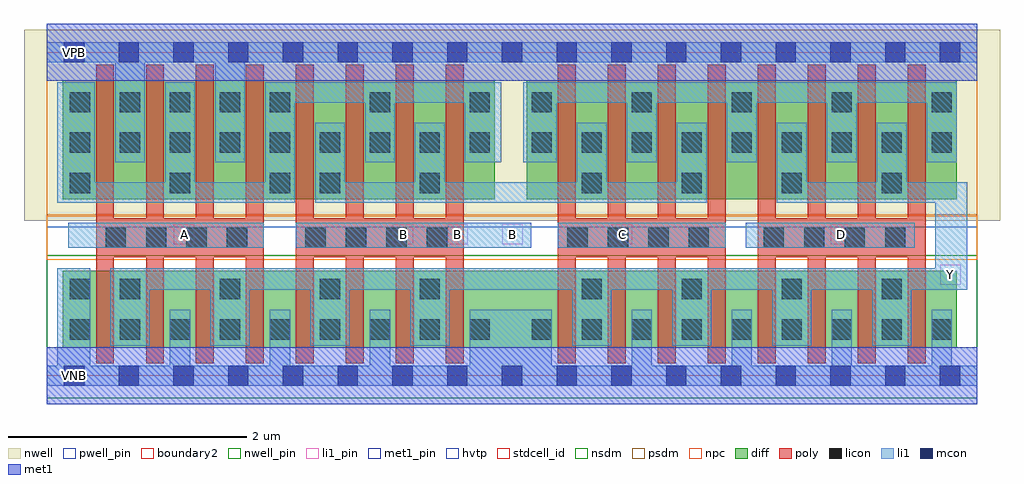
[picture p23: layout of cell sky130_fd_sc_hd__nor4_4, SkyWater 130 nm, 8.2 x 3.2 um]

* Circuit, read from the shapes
.subckt sky130_fd_sc_hd__nor4_4 A B C D VGND VNB VPB VPWR Y
XM1 Y A VGND VNB sky130_fd_pr__nfet_01v8 w=0.65 l=0.15 m=4
XM2 Y B VGND VNB sky130_fd_pr__nfet_01v8 w=0.65 l=0.15 m=4
XM3 Y C VGND VNB sky130_fd_pr__nfet_01v8 w=0.65 l=0.15 m=4
XM4 Y D VGND VNB sky130_fd_pr__nfet_01v8 w=0.65 l=0.15 m=4
XM5 VPWR A n1 VPB sky130_fd_pr__pfet_01v8_hvt w=1 l=0.15 m=4
XM6 n2 B n1 VPB sky130_fd_pr__pfet_01v8_hvt w=1 l=0.15 m=4
XM7 n2 C n3 VPB sky130_fd_pr__pfet_01v8_hvt w=1 l=0.15 m=4
XM8 Y D n3 VPB sky130_fd_pr__pfet_01v8_hvt w=1 l=0.15 m=4
.ends

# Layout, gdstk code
import gdstk
lib = gdstk.Library(unit=1e-6, precision=1e-09)
def R(c, l, rs):  # rectangles x0, y0, x1, y1
    for r in rs: c.add(gdstk.rectangle(r[:2], r[2:], *l))
def A(c, l, x, y, w, h, nx, ny, dx, dy):  # array of equal rectangles
    R(c, l, [(x+i*dx, y+j*dy, x+i*dx+w, y+j*dy+h) for i in range(nx) for j in range(ny)])
def P(c, l, *ps):  # polygons
    for p in ps: c.add(gdstk.Polygon(p, *l))
nwell_pin = (64, 16)
nwell = (64, 20)
diff = (65, 20)
poly = (66, 20)
licon = (66, 44)
li1_pin = (67, 16)
li1 = (67, 20)
mcon = (67, 44)
met1_pin = (68, 16)
met1 = (68, 20)
hvtp = (78, 44)
stdcell_id = (81, 4)
nsdm = (93, 44)
psdm = (94, 20)
npc = (95, 20)
pwell_pin = (122, 16)
boundary2 = (236, 0)

sky130_fd_sc_hd__nor4_4 = lib.new_cell('sky130_fd_sc_hd__nor4_4')
R(sky130_fd_sc_hd__nor4_4, nwell_pin, [(0.15,2.635,0.32,2.805)])
R(sky130_fd_sc_hd__nor4_4, nwell, [(-0.19,1.305,8.01,2.91)])
R(sky130_fd_sc_hd__nor4_4, diff, [(0.135,0.235,7.645,0.885), (0.135,1.485,3.765,2.485), (4.035,1.485,7.645,2.485)])
P(sky130_fd_sc_hd__nor4_4, poly, [(7.385,2.615),(7.235,2.615),(7.235,1.325),(6.965,1.325),(6.965,2.615),(6.815,2.615),(6.815,1.325),(6.545,1.325),(6.545,2.615),(6.395,2.615),(6.395,1.325),(6.125,1.325),(6.125,2.615),(5.975,2.615),(5.975,0.105),(6.125,0.105),(6.125,0.995),(6.395,0.995),(6.395,0.105),(6.545,0.105),(6.545,0.995),(6.815,0.995),(6.815,0.105),(6.965,0.105),(6.965,0.995),(7.235,0.995),(7.235,0.105),(7.385,0.105)],
  [(5.705,2.615),(5.555,2.615),(5.555,1.325),(5.285,1.325),(5.285,2.615),(5.135,2.615),(5.135,1.325),(4.865,1.325),(4.865,2.615),(4.715,2.615),(4.715,1.325),(4.445,1.325),(4.445,2.615),(4.295,2.615),(4.295,0.105),(4.445,0.105),(4.445,0.995),(4.715,0.995),(4.715,0.105),(4.865,0.105),(4.865,0.995),(5.135,0.995),(5.135,0.105),(5.285,0.105),(5.285,0.995),(5.555,0.995),(5.555,0.105),(5.705,0.105)],
  [(1.825,2.615),(1.675,2.615),(1.675,1.325),(1.405,1.325),(1.405,2.615),(1.255,2.615),(1.255,1.325),(0.985,1.325),(0.985,2.615),(0.835,2.615),(0.835,1.325),(0.565,1.325),(0.565,2.615),(0.415,2.615),(0.415,0.105),(0.565,0.105),(0.565,0.995),(0.835,0.995),(0.835,0.105),(0.985,0.105),(0.985,0.995),(1.255,0.995),(1.255,0.105),(1.405,0.105),(1.405,0.995),(1.675,0.995),(1.675,0.105),(1.825,0.105)],
  [(3.505,2.615),(3.355,2.615),(3.355,1.325),(3.085,1.325),(3.085,2.615),(2.935,2.615),(2.935,1.325),(2.665,1.325),(2.665,2.615),(2.515,2.615),(2.515,1.325),(2.245,1.325),(2.245,2.615),(2.095,2.615),(2.095,0.105),(2.245,0.105),(2.245,0.995),(2.515,0.995),(2.515,0.105),(2.665,0.105),(2.665,0.995),(2.935,0.995),(2.935,0.105),(3.085,0.105),(3.085,0.995),(3.355,0.995),(3.355,0.105),(3.505,0.105)])
A(sky130_fd_sc_hd__nor4_4, licon, 0.195, 0.305, 0.17, 0.17, 9, 2, 0.42, 1.57)
A(sky130_fd_sc_hd__nor4_4, licon, 4.075, 0.305, 0.17, 0.17, 9, 2, 0.42, 1.57)
A(sky130_fd_sc_hd__nor4_4, licon, 0.615, 0.645, 0.17, 0.17, 4, 1, 0.84, 0)
A(sky130_fd_sc_hd__nor4_4, licon, 4.495, 0.645, 0.17, 0.17, 4, 2, 0.84, 0.89)
A(sky130_fd_sc_hd__nor4_4, licon, 0.495, 1.075, 0.17, 0.17, 4, 1, 0.34, 0)
A(sky130_fd_sc_hd__nor4_4, licon, 2.175, 1.075, 0.17, 0.17, 4, 1, 0.34, 0)
A(sky130_fd_sc_hd__nor4_4, licon, 4.375, 1.075, 0.17, 0.17, 4, 1, 0.34, 0)
A(sky130_fd_sc_hd__nor4_4, licon, 6.025, 1.075, 0.17, 0.17, 4, 1, 0.34, 0)
A(sky130_fd_sc_hd__nor4_4, licon, 0.195, 1.535, 0.17, 0.17, 3, 1, 0.84, 0)
A(sky130_fd_sc_hd__nor4_4, licon, 0.195, 2.215, 0.17, 0.17, 5, 1, 0.42, 0)
A(sky130_fd_sc_hd__nor4_4, licon, 4.075, 2.215, 0.17, 0.17, 5, 1, 0.84, 0)
R(sky130_fd_sc_hd__nor4_4, licon, [(0.195,0.645,0.365,0.815), (2.295,1.535,2.465,1.705), (3.135,1.535,3.305,1.705), (2.715,2.215,2.885,2.385), (3.555,2.215,3.725,2.385)])
A(sky130_fd_sc_hd__nor4_4, li1_pin, 2.91, 1.105, 0.17, 0.17, 3, 1, 0.46, 0)
R(sky130_fd_sc_hd__nor4_4, li1_pin, [(7.51,0.765,7.68,0.935), (1.07,1.105,1.24,1.275), (4.75,1.105,4.92,1.275), (6.59,1.105,6.76,1.275)])
R(sky130_fd_sc_hd__nor4_4, li1, [(0.18,1.075,1.825,1.285), (2.095,1.075,4.07,1.285), (4.295,1.075,5.705,1.285), (5.875,1.075,7.295,1.285)])
P(sky130_fd_sc_hd__nor4_4, li1, [(7.82,0.085),(7.605,0.085),(7.605,0.555),(7.435,0.555),(7.435,0.085),(6.765,0.085),(6.765,0.555),(6.595,0.555),(6.595,0.085),(5.925,0.085),(5.925,0.555),(5.755,0.555),(5.755,0.085),(5.085,0.085),(5.085,0.555),(4.915,0.555),(4.915,0.085),(4.245,0.085),(4.245,0.555),(3.555,0.555),(3.555,0.085),(2.885,0.085),(2.885,0.555),(2.715,0.555),(2.715,0.085),(2.045,0.085),(2.045,0.555),(1.875,0.555),(1.875,0.085),(1.205,0.085),(1.205,0.555),(1.035,0.555),(1.035,0.085),(0.365,0.085),(0.365,0.905),(0.09,0.905),(0.09,0.085),(0,0.085),(0,-0.085),(7.82,-0.085)],
  [(7.82,2.805),(0,2.805),(0,2.635),(0.575,2.635),(0.575,1.795),(0.825,1.795),(0.825,2.635),(1.415,2.635),(1.415,1.795),(1.665,1.795),(1.665,2.635),(7.82,2.635)],
  [(3.82,2.465),(1.835,2.465),(1.835,1.625),(1.245,1.625),(1.245,2.465),(0.995,2.465),(0.995,1.625),(0.405,1.625),(0.405,2.465),(0.09,2.465),(0.09,1.455),(2.085,1.455),(2.085,2.295),(2.675,2.295),(2.675,1.795),(2.925,1.795),(2.925,2.295),(3.515,2.295),(3.515,1.795),(3.82,1.795)],
  [(5.545,2.125),(5.295,2.125),(5.295,1.625),(4.705,1.625),(4.705,2.125),(4.455,2.125),(4.455,1.625),(3.345,1.625),(3.345,2.125),(3.095,2.125),(3.095,1.625),(2.505,1.625),(2.505,2.125),(2.255,2.125),(2.255,1.455),(5.545,1.455)],
  [(7.645,2.465),(4.005,2.465),(4.005,1.795),(4.285,1.795),(4.285,2.295),(4.875,2.295),(4.875,1.795),(5.125,1.795),(5.125,2.295),(5.715,2.295),(5.715,1.795),(5.965,1.795),(5.965,2.295),(6.555,2.295),(6.555,1.795),(6.805,1.795),(6.805,2.295),(7.395,2.295),(7.395,1.795),(7.645,1.795)],
  [(7.735,1.625),(7.225,1.625),(7.225,2.125),(6.975,2.125),(6.975,1.625),(6.385,1.625),(6.385,2.125),(6.135,2.125),(6.135,1.455),(7.465,1.455),(7.465,0.905),(0.535,0.905),(0.535,0.255),(0.865,0.255),(0.865,0.725),(1.375,0.725),(1.375,0.255),(1.705,0.255),(1.705,0.725),(2.215,0.725),(2.215,0.255),(2.545,0.255),(2.545,0.725),(3.055,0.725),(3.055,0.255),(3.385,0.255),(3.385,0.725),(4.415,0.725),(4.415,0.255),(4.745,0.255),(4.745,0.725),(5.255,0.725),(5.255,0.255),(5.585,0.255),(5.585,0.725),(6.095,0.725),(6.095,0.255),(6.425,0.255),(6.425,0.725),(6.935,0.725),(6.935,0.255),(7.265,0.255),(7.265,0.725),(7.735,0.725)])
A(sky130_fd_sc_hd__nor4_4, mcon, 0.145, -0.085, 0.17, 0.17, 17, 2, 0.46, 2.72)
R(sky130_fd_sc_hd__nor4_4, met1_pin, [(0.15,-0.085,0.32,0.085), (0.15,2.635,0.32,2.805)])
R(sky130_fd_sc_hd__nor4_4, hvtp, [(0,1.25,7.82,2.72)])
R(sky130_fd_sc_hd__nor4_4, stdcell_id, [(0,0,7.82,2.72)])
R(sky130_fd_sc_hd__nor4_4, nsdm, [(0,-0.19,7.82,1.015)])
R(sky130_fd_sc_hd__nor4_4, psdm, [(0,1.355,7.82,2.91)])
R(sky130_fd_sc_hd__nor4_4, npc, [(0,0.975,7.82,1.345)])
R(sky130_fd_sc_hd__nor4_4, pwell_pin, [(0.15,-0.085,0.32,0.085)])
R(sky130_fd_sc_hd__nor4_4, boundary2, [(0,0,7.82,2.72)])
sky130_fd_sc_hd__nor4_4.add(gdstk.FlexPath([(0,2.72),(7.82,2.72)], 0.48, ends="flush", simple_path=True, layer=68, datatype=20))  # met1
sky130_fd_sc_hd__nor4_4.add(gdstk.FlexPath([(0,0),(7.82,0)], 0.48, ends="flush", simple_path=True, layer=68, datatype=20))  # met1
sky130_fd_sc_hd__nor4_4.add(gdstk.Label('A', (1.155,1.19), layer=67, texttype=5))
sky130_fd_sc_hd__nor4_4.add(gdstk.Label('C', (4.835,1.19), layer=67, texttype=5))
sky130_fd_sc_hd__nor4_4.add(gdstk.Label('Y', (7.595,0.85), layer=67, texttype=5))
sky130_fd_sc_hd__nor4_4.add(gdstk.Label('D', (6.675,1.19), layer=67, texttype=5))
sky130_fd_sc_hd__nor4_4.add(gdstk.Label('B', (3.455,1.19), layer=67, texttype=5))
sky130_fd_sc_hd__nor4_4.add(gdstk.Label('B', (3.915,1.19), layer=67, texttype=5))
sky130_fd_sc_hd__nor4_4.add(gdstk.Label('B', (2.995,1.19), layer=67, texttype=5))
sky130_fd_sc_hd__nor4_4.add(gdstk.Label('VPB', (0.235,2.72), layer=64, texttype=5))
sky130_fd_sc_hd__nor4_4.add(gdstk.Label('VNB', (0.235,0), layer=64, texttype=59))
sky130_fd_sc_hd__nor4_4.add(gdstk.Label('VGND', (0.235,0), layer=68, texttype=5))
sky130_fd_sc_hd__nor4_4.add(gdstk.Label('VPWR', (0.235,2.72), layer=68, texttype=5))
sky130_fd_sc_hd__nor4_4.add(gdstk.Label('nor4_4', (0,0), layer=83, texttype=44))

lib.write_gds('sky130_fd_sc_hd__nor4_4.gds')
